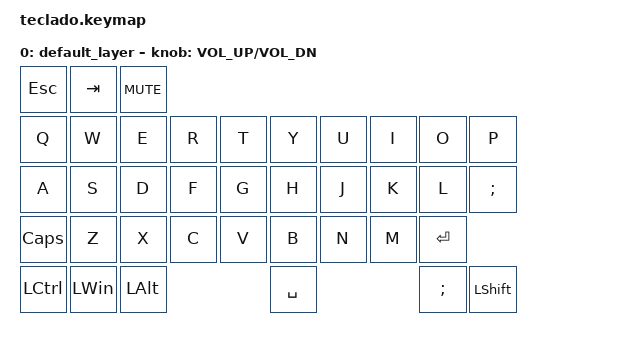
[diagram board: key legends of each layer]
#include <behaviors.dtsi>
#include <dt-bindings/zmk/keys.h>

/ {
    sensors {
        compatible = "zmk,keymap-sensors";
        sensors = <&encoder>;
    };

    keymap {
        compatible = "zmk,keymap";

        default_layer {
            // El giro del encoder ajusta el volumen (Subir / Bajar)
            sensor-bindings = <&inc_dec_kp C_VOL_UP C_VOL_DN>;

            bindings = <
                &kp ESC   &kp TAB   &kp C_MUTE
                &kp Q     &kp W     &kp E      &kp R      &kp T      &kp Y     &kp U     &kp I     &kp O     &kp P
                &kp A     &kp S     &kp D      &kp F      &kp G      &kp H     &kp J     &kp K     &kp L     &kp SEMI
                &kp CAPS  &kp Z     &kp X      &kp C      &kp V      &kp B     &kp N     &kp M     &kp RET
                &kp LCTRL &kp LWIN  &kp LALT                         &kp SPACE                     &kp SEMI  &kp LSHFT
            >;
        };
    };
};
